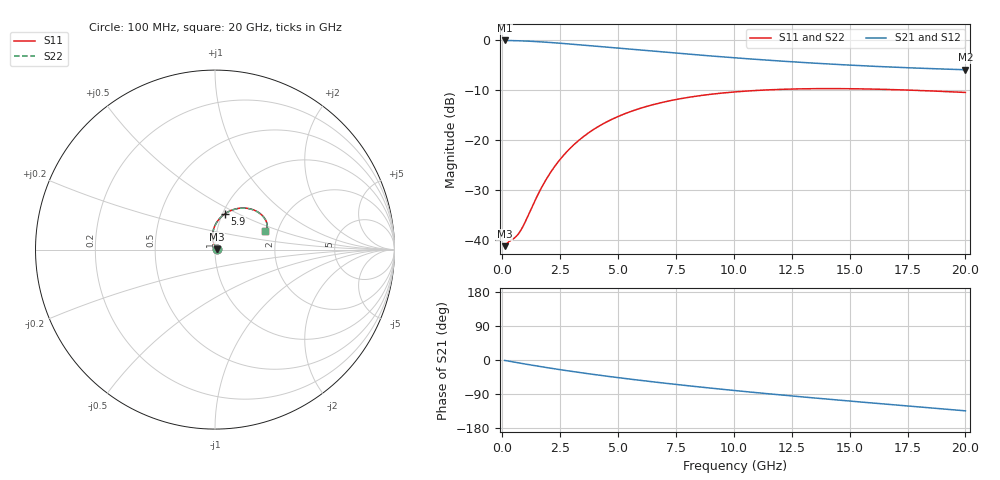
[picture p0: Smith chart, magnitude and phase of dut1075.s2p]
! Touchstone file exported from HFSS 2024.1.0
!  File:  C:/UserFiles/LocalFiles/RDL_TSV_Batchsim/temp_RDL_TSV_1075_1780094315.aedt
!  Generated:  06:52:43 AM May 30, 2026
!  Design:  RDL_TSV
!  Project:  temp_RDL_TSV_1075_1780094315
!  Setup:  Setup1
!  Solution:  Sweep
! Variables:
!  dtsv = 5.82um
!  hbump = 3um
!  htsv = 68.49um
!  ldown = 241.62um
!  lrdl = 280.36um
!  p = 40
!  p1 = 43.17um
!  rhole = 10um
!  subl = 1846.3um
!  t = 450um
!  tdown = 4.94um
!  trdl = 4.89um
!  viad = 10um
!  wdown = 27.66um
!  wrdl = 17.36um
!  xbump = 18um
# GHz S MA R 50.000000
! Terminal data exported
! Port[1] = TM1_1_T1
! Port[2] = TM1_4_T1
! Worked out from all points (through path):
!   200 points, 100 MHz to 20 GHz, reference 50 ohm
!   highest |S21| = -0.08 dB at 100 MHz (marker M1); lowest = -5.9 dB at 20 GHz (marker M2)
!   group delay of S21, straight-line fit = 17.8 ps
!   lowest |S11| = -41.2 dB at 100 MHz (marker M3), VSWR 1.02, Z = 50.9 + j0.177 ohm
!   |S11| at or under -10 dB: start of sweep to 11.31 GHz; 17.48 GHz to end of sweep
!   |S22| runs from -41.2 to -9.7 dB; largest |S21 - S12| = 9.8e-15
!   S11 on the Smith chart (normalised r, x): 100 MHz: 1.02, +0.00; 5.9 GHz: 1.02, +0.42; 20 GHz: 1.73, +0.39
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0.1  0.008662 11.6  0.9913 -1.1  0.9913 -1.1  0.008662 11.6
! Gamma 0 0 0 0
! Port Impedance 50 0 50 0
0.3  0.009668 27.0  0.9896 -3.3  0.9896 -3.3  0.009668 27.0
0.6  0.01084 49.5  0.9859 -6.5  0.9859 -6.5  0.01084 49.5
0.8  0.01249 65.5  0.9825 -8.6  0.9825 -8.6  0.01249 65.4
1  0.01532 79.0  0.9784 -10.7  0.9784 -10.7  0.01531 79.0
1.4  0.02441 95.3  0.9681 -14.9  0.9681 -14.9  0.0244 95.3
1.7  0.03358 100.5  0.9588 -17.9  0.9588 -17.9  0.03356 100.5
2  0.04421 102.5  0.9486 -20.8  0.9486 -20.8  0.04417 102.5
2.3  0.0559 102.5  0.9376 -23.7  0.9376 -23.7  0.05586 102.5
2.9  0.08131 99.7  0.9142 -29.2  0.9142 -29.2  0.08125 99.7
3.5  0.1079 95.2  0.89 -34.4  0.89 -34.4  0.1078 95.1
4  0.13 90.9  0.8698 -38.6  0.8698 -38.6  0.1299 90.9
4.6  0.1556 85.7  0.8459 -43.4  0.8459 -43.4  0.1555 85.7
5.2  0.1797 80.6  0.8226 -48.1  0.8226 -48.1  0.1796 80.5
5.9  0.2055 74.8  0.7964 -53.3  0.7964 -53.3  0.2054 74.8
6.8  0.2347 68.0  0.7642 -59.7  0.7642 -59.7  0.2345 68.0
8.3  0.2729 57.9  0.7148 -69.8  0.7148 -69.8  0.2727 57.9
10.1  0.3036 47.8  0.663 -81.0  0.663 -81.0  0.3033 47.8
11.7  0.3192 40.3  0.6238 -90.3  0.6238 -90.3  0.3188 40.3
13.4  0.3263 33.8  0.5889 -99.8  0.5889 -99.8  0.3258 33.8
16.7  0.3203 24.7  0.5382 -117.2  0.5382 -117.2  0.3197 24.7
20  0.2993 20.1  0.5048 -134.1  0.5048 -134.1  0.2985 20.1
